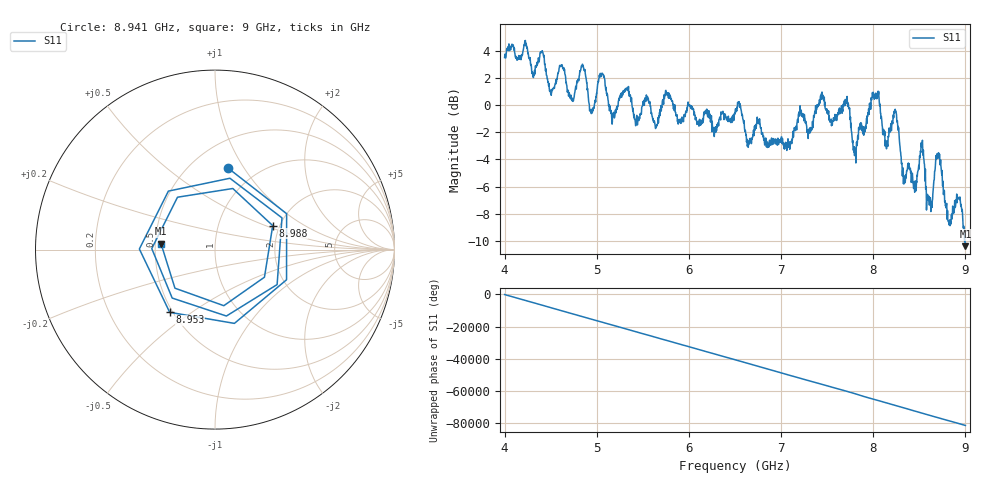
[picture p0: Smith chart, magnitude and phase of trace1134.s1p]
! Created with skrf 1.8.0 (http://scikit-rf.org).
# Hz S RI R 50.0
!freq ReS11 ImS11
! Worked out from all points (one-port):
!   1601 points, 4 GHz to 9 GHz, reference 50 ohm
!   lowest |S11| = -10.4 dB at 9 GHz (marker M1), VSWR 1.87, Z = 26.8 + j1.95 ohm
!   |S11| at or under -10 dB: 8.990928 GHz to 8.993602 GHz (2.675 MHz wide, 0.0297 % of centre); 8.994053 GHz to end of sweep
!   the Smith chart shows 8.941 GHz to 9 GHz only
!   S11 on the Smith chart (normalised r, x): 8.941 GHz: 0.74, +0.85; 8.953 GHz: 0.48, -0.41; 8.988 GHz: 1.84, +0.56; 9 GHz: 0.54, +0.04
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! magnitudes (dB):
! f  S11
! 4 GHz  3.5
! 4.406 GHz  3.9
! 4.509 GHz  0.9
! 4.625 GHz  3.0
! 4.731 GHz  0.3
! 4.853 GHz  2.9
! 4.944 GHz  -0.4
! 5.047 GHz  2.1
! 5.172 GHz  -0.6
! 5.25 GHz  0.7
! 5.875 GHz  -1.2
! 6.5 GHz  -0.6
! 7.125 GHz  -2.4
! 7.444 GHz  1.0
! 7.75 GHz  -1.1
! 7.803 GHz  -3.6
! 8.041 GHz  0.7
! 8.144 GHz  -3.2
! 8.241 GHz  -0.4
! 8.375 GHz  -4.3
! 8.528 GHz  -2.8
! 8.619 GHz  -6.8
! 8.706 GHz  -3.5
! 8.825 GHz  -8.8
! 8.941 GHz  -6.8
! 8.953 GHz  -7.3
! 8.988 GHz  -9.2
! 9 GHz  -10.4
